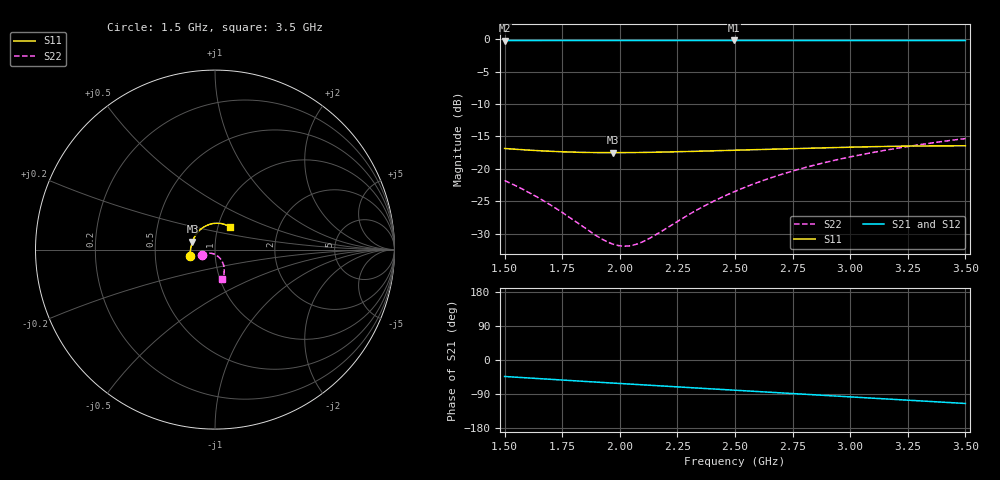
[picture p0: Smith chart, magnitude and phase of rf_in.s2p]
! Anvil openEMS model rf_in from rffe.kicad_pcb
! ports J1.1,U2.1
# Hz S RI R 50
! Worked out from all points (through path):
!   401 points, 1.5 GHz to 3.5 GHz, reference 50 ohm
!   highest |S21| = -0.21 dB at 2.495 GHz (marker M1); lowest = -0.2 dB at 1.5 GHz (marker M2)
!   group delay of S21, straight-line fit = 98.5 ps
!   lowest |S11| = -17.5 dB at 1.97 GHz (marker M3), VSWR 1.31, Z = 38.7 + j3.5 ohm
!   |S11| at or under -10 dB: start of sweep to end of sweep
!   |S22| runs from -31.9 to -15.3 dB; largest |S21 - S12| = 0.014
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1.5e9  -0.1382 -0.038  0.7063 -0.6704  0.7197 -0.6723  -0.0744 -0.0322
1.57e9  -0.1383 -0.0245  0.6749 -0.7031  0.6874 -0.7061  -0.0654 -0.027
1.66e9  -0.1372 -0.00785  0.6324 -0.7421  0.6438 -0.7465  -0.0534 -0.0224
1.74e9  -0.1353 0.00631  0.5931 -0.774  0.6034 -0.7795  -0.0428 -0.0201
1.835e9  -0.1319 0.0224  0.5448 -0.8087  0.5537 -0.8152  -0.0305 -0.0196
1.915e9  -0.1284 0.0355  0.503 -0.8353  0.5106 -0.8424  -0.0207 -0.0206
1.97e9  -0.1255 0.0444  0.4737 -0.8522  0.4805 -0.8597  -0.0142 -0.0221
2.015e9  -0.1228 0.0515  0.4495 -0.8653  0.4555 -0.8731  -0.0091 -0.0236
2.06e9  -0.1199 0.0585  0.425 -0.8776  0.4302 -0.8856  -0.00416 -0.0255
2.11e9  -0.1162 0.0661  0.3974 -0.8905  0.4018 -0.8986  0.00112 -0.0279
2.17e9  -0.1114 0.075  0.3639 -0.9049  0.3672 -0.9131  0.00717 -0.0312
2.34e9  -0.0946 0.0985  0.2666 -0.9386  0.2671 -0.9463  0.0226 -0.0431
2.415e9  -0.0857 0.1077  0.2228 -0.9501  0.2221 -0.9572  0.0286 -0.0494
2.495e9  -0.0755 0.1166  0.1756 -0.96  0.1738 -0.9664  0.0343 -0.0568
2.5e9  -0.0748 0.1171  0.1726 -0.9605  0.1708 -0.9669  0.0346 -0.0573
2.58e9  -0.0638 0.1249  0.1251 -0.9678  0.1222 -0.9733  0.0395 -0.0653
2.66e9  -0.0521 0.1316  0.0774 -0.9727  0.0737 -0.9771  0.0436 -0.0738
2.835e9  -0.0248 0.1421  -0.0269 -0.9751  -0.0318 -0.9767  0.0495 -0.0933
2.99e9  0.000771 0.1466  -0.1186 -0.968  -0.1237 -0.967  0.0515 -0.1111
3.17e9  0.0315 0.1455  -0.2236 -0.9492  -0.2279 -0.945  0.0504 -0.1313
3.325e9  0.0575 0.1386  -0.3117 -0.9237  -0.3145 -0.9169  0.0469 -0.1483
3.5e9  0.0847 0.1243  -0.4074 -0.8849  -0.4073 -0.8758  0.0399 -0.1661
